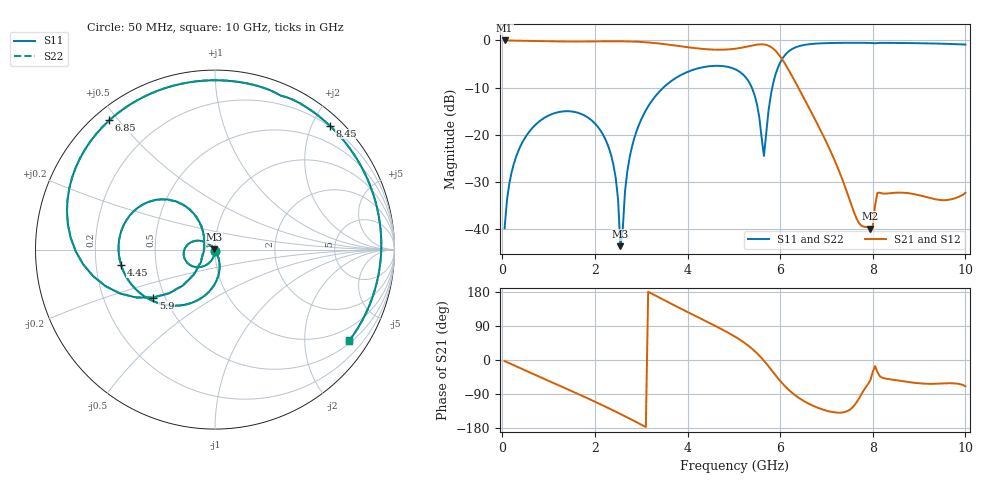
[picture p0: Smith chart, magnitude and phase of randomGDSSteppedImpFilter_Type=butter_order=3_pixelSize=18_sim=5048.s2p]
! freq	dB(S11)	phase(S11)	dB(S12)	phase(S12)
!  dB(S21)	phase(S21)	dB(S22)	phase(S22)
!S-par simulation data
#  GHz  S  DB  R 50
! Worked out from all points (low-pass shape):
!   200 points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, 50 MHz to 10 GHz, reference 50 ohm
!   highest |S21| = 0.00 dB at 50 MHz (marker M1); lowest = -40.0 dB at 7.95 GHz (marker M2)
!   |S21| within 3 dB of the highest: start of sweep to 5.969 GHz
!   lowest |S11| = -43.7 dB at 2.55 GHz (marker M3), VSWR 1.01, Z = 49.4 + j0.243 ohm
!   |S11| at or under -10 dB: start of sweep to 3.481 GHz; 5.387 GHz to 5.831 GHz (444.3 MHz wide, 7.92 % of centre)
!   |S22| runs from -43.7 to -0.5 dB; largest |S21 - S12| = 0
!   S11 on the Smith chart (normalised r, x): 50 MHz: 1.00, -0.02; 4.45 GHz: 0.31, -0.07; 5.9 GHz: 0.43, -0.28; 6.85 GHz: 0.04, +0.47; 8.45 GHz: 0.19, +2.28; 10 GHz: 0.57, -3.17
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0.05  -39.92 -92.1  -0.00 -2.8  -0.00 -2.8  -39.92 -92.1
0.2  -28.06 -101.1  -0.03 -11.2  -0.03 -11.2  -28.06 -101.1
0.55  -19.81 -120.9  -0.09 -30.5  -0.09 -30.5  -19.81 -120.9
1.75  -15.82 173.6  -0.23 -95.9  -0.23 -95.9  -15.82 173.7
2.35  -24.38 140.8  -0.18 -130.3  -0.18 -130.3  -24.38 140.9
2.5  -33.78 136.5  -0.18 -139.3  -0.18 -139.3  -33.78 136.7
2.55  -43.71 157.9  -0.18 -142.4  -0.18 -142.4  -43.69 158.2
2.8  -22.59 -70.8  -0.23 -157.9  -0.23 -157.9  -22.59 -70.8
3.4  -10.79 -107.3  -0.67 164.0  -0.67 164.0  -10.79 -107.2
4.45  -5.51 -170.9  -1.89 99.2  -1.89 99.2  -5.51 -170.8
5.05  -6.23 151.2  -1.73 59.7  -1.73 59.7  -6.22 151.5
5.45  -11.68 121.7  -0.98 23.6  -0.98 23.6  -11.67 122.2
5.65  -24.53 176.9  -0.85 -1.8  -0.85 -1.8  -24.20 177.0
5.9  -7.23 -142.1  -2.20 -40.1  -2.20 -40.1  -7.22 -142.4
6.25  -1.87 175.5  -7.45 -85.9  -7.45 -85.9  -1.87 175.4
6.7  -0.73 138.8  -15.76 -120.2  -15.76 -120.2  -0.73 138.8
6.85  -0.63 129.3  -18.64 -127.7  -18.64 -127.7  -0.63 129.3
7.95  -0.54 71.4  -39.96 -52.5  -39.96 -52.5  -0.54 71.5
8.1  -0.55 64.7  -32.41 -31.8  -32.41 -31.8  -0.56 64.8
8.35  -0.52 52.1  -32.48 -50.5  -32.48 -50.5  -0.52 52.2
8.45  -0.53 47.2  -32.38 -52.4  -32.38 -52.4  -0.53 47.3
10  -0.88 -34.0  -32.34 -69.5  -32.34 -69.5  -0.88 -34.1
